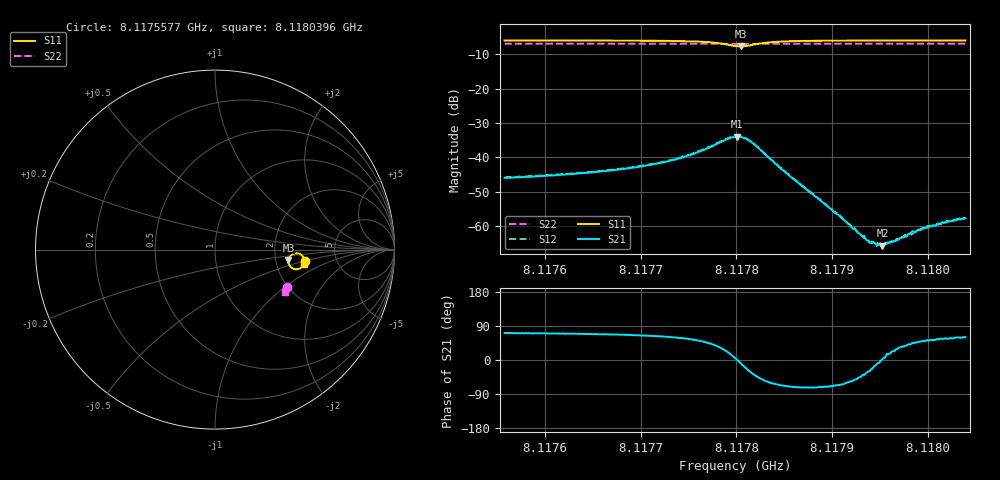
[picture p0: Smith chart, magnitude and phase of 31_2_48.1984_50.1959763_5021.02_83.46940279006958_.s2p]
#  HZ  S  RI  R  50.00
! Rohde & Schwarz Vector Network Analyzer
! Rohde-Schwarz,ZNB20-2Port,1311601062101988,3.16
! Created: UTC 3/20/2024, 11:37:22 AM
! freq[Hz]  re:S11  im:S11  re:S21  im:S21  re:S12  im:S12  re:S22  im:S22
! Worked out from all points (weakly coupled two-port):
!   401 points, 8.1175577 GHz to 8.1180396 GHz, reference 50 ohm
!   highest |S21| = -33.96 dB at 8.1178011 GHz (marker M1); lowest = -65.7 dB at 8.1179528 GHz (marker M2)
!   lowest |S11| = -7.7 dB at 8.1178047 GHz (marker M3), VSWR 2.41, Z = 118 - j16.5 ohm
!   |S11| at or under -10 dB: nowhere
!   |S22| runs from -7.0 to -6.9 dB; largest |S21 - S12| = 0.00058
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8.11755774e9  0.5009 -0.0634  0.00164 0.00475  0.00167 0.00482  0.4029 -0.2058
8.11763844e9  0.4985 -0.0732  0.00211 0.00547  0.00219 0.00553  0.4003 -0.211
8.11768542e9  0.4956 -0.0808  0.00276 0.00626  0.00286 0.00636  0.3988 -0.2141
8.11771915e9  0.4913 -0.0888  0.00378 0.00728  0.00394 0.00738  0.3974 -0.2165
8.11775408e9  0.4794 -0.1011  0.00654 0.00897  0.00681 0.00909  0.3958 -0.2188
8.11778299e9  0.4446 -0.1088  0.0138 0.00894  0.0144 0.009  0.3935 -0.2206
8.11779864e9  0.4115 -0.0808  0.0198 0.00173  0.0203 0.00161  0.3918 -0.2198
8.11780105e9  0.4092 -0.0721  0.02 -8.09e-05  0.0204 -0.000368  0.3918 -0.2195
8.11780467e9  0.4092 -0.0582  0.0195 -0.00304  0.02 -0.00342  0.3917 -0.2191
8.11781069e9  0.4183 -0.0372  0.017 -0.00716  0.0171 -0.00762  0.3924 -0.2187
8.11781792e9  0.4378 -0.0229  0.0124 -0.00968  0.0125 -0.00997  0.393 -0.2189
8.1178408e9  0.4805 -0.0295  0.0036 -0.00712  0.0036 -0.00733  0.3941 -0.2212
8.11787935e9  0.4962 -0.0514  0.000881 -0.00278  0.000826 -0.00285  0.3932 -0.2244
8.11790826e9  0.4984 -0.0604  0.000554 -0.00125  0.00056 -0.00132  0.3923 -0.2265
8.11792994e9  0.4988 -0.0654  0.000533 -0.000528  0.000569 -0.000509  0.3918 -0.228
8.11793837e9  0.499 -0.067  0.000525 -0.000301  0.00051 -0.000271  0.3913 -0.2285
8.11794921e9  0.499 -0.069  0.000541 -7.23e-05  0.000527 -5.61e-05  0.3911 -0.2293
8.11795282e9  0.4991 -0.0695  0.000517 1.53e-05  0.000539 3.38e-05  0.391 -0.2295
8.11796005e9  0.499 -0.0708  0.000549 0.000168  0.000562 0.000142  0.3907 -0.23
8.11799739e9  0.4988 -0.0761  0.00061 0.00071  0.000583 0.000751  0.3894 -0.2323
8.11801546e9  0.4986 -0.0783  0.000642 0.000937  0.000651 0.000912  0.3887 -0.2335
8.11803955e9  0.4982 -0.0812  0.000649 0.00112  0.000673 0.00113  0.388 -0.2351
